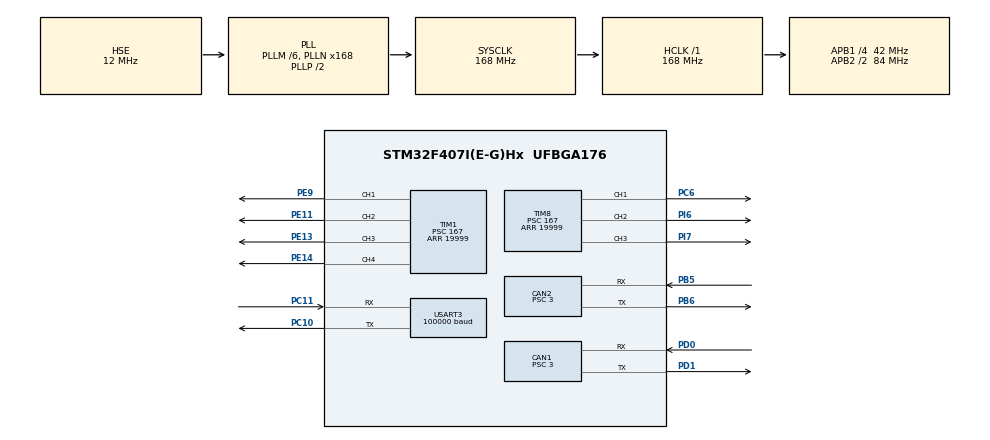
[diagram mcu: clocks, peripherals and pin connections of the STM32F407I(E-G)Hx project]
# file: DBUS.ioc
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CAN1.BS1=CAN_BS1_10TQ
CAN1.BS2=CAN_BS2_3TQ
CAN1.CalculateTimeQuantum=71.42857142857143
CAN1.Prescaler=3
CAN2.BS1=CAN_BS1_10TQ
CAN2.BS2=CAN_BS2_3TQ
CAN2.CalculateTimeQuantum=71.42857142857143
CAN2.Prescaler=3
Dma.Request0=USART3_RX
Dma.USART3_RX.0.Direction=DMA_PERIPH_TO_MEMORY
Dma.USART3_RX.0.FIFOMode=DMA_FIFOMODE_DISABLE
Dma.USART3_RX.0.Instance=DMA1_Stream1
Dma.USART3_RX.0.MemDataAlignment=DMA_MDATAALIGN_BYTE
Dma.USART3_RX.0.MemInc=DMA_MINC_ENABLE
Dma.USART3_RX.0.Mode=DMA_CIRCULAR
Dma.USART3_RX.0.PeriphDataAlignment=DMA_PDATAALIGN_BYTE
Dma.USART3_RX.0.PeriphInc=DMA_PINC_DISABLE
Dma.USART3_RX.0.Priority=DMA_PRIORITY_VERY_HIGH
Mcu.Family=STM32F4
Mcu.Name=STM32F407I(E-G)Hx
Mcu.Package=UFBGA176
NVIC.CAN1_RX0_IRQn=true\:0\:0\:false\:false\:true\:true\:true
NVIC.CAN2_RX0_IRQn=true\:0\:0\:false\:false\:true\:true\:true
NVIC.DMA1_Stream1_IRQn=true\:0\:0\:false\:false\:true\:false\:true
NVIC.PriorityGroup=NVIC_PRIORITYGROUP_4
PA13.Mode=Serial_Wire
PA13.Signal=SYS_JTMS-SWDIO
PA14.Mode=Serial_Wire
PA14.Signal=SYS_JTCK-SWCLK
PB5.Mode=Slave
PB5.Signal=CAN2_RX
PB6.Mode=Slave
PB6.Signal=CAN2_TX
PC10.Mode=Asynchronous
PC10.Signal=USART3_TX
PC11.Mode=Asynchronous
PC11.Signal=USART3_RX
PC6.GPIO_PuPd=GPIO_PULLUP
PC6.GPIO_Speed=GPIO_SPEED_FREQ_HIGH
PC6.Signal=S_TIM8_CH1
PD0.Mode=Master
PD0.Signal=CAN1_RX
PD1.Mode=Master
PD1.Signal=CAN1_TX
PE11.GPIO_PuPd=GPIO_PULLUP
PE11.GPIO_Speed=GPIO_SPEED_FREQ_HIGH
PE11.Signal=S_TIM1_CH2
PE13.GPIO_PuPd=GPIO_PULLUP
PE13.GPIO_Speed=GPIO_SPEED_FREQ_HIGH
PE13.Signal=S_TIM1_CH3
PE14.GPIO_PuPd=GPIO_PULLUP
PE14.GPIO_Speed=GPIO_SPEED_FREQ_HIGH
PE14.Signal=S_TIM1_CH4
PE9.GPIO_PuPd=GPIO_PULLUP
PE9.GPIO_Speed=GPIO_SPEED_FREQ_HIGH
PE9.Signal=S_TIM1_CH1
PH0-OSC_IN.Mode=HSE-External-Oscillator
PH0-OSC_IN.Signal=RCC_OSC_IN
PH1-OSC_OUT.Mode=HSE-External-Oscillator
PH1-OSC_OUT.Signal=RCC_OSC_OUT
PI6.GPIO_PuPd=GPIO_PULLUP
PI6.GPIO_Speed=GPIO_SPEED_FREQ_HIGH
PI6.Signal=S_TIM8_CH2
PI7.GPIO_PuPd=GPIO_PULLUP
PI7.GPIO_Speed=GPIO_SPEED_FREQ_HIGH
PI7.Signal=S_TIM8_CH3
ProjectManager.HeapSize=0x2000
ProjectManager.StackSize=0x2000
ProjectManager.TargetToolchain=MDK-ARM V5
RCC.48MHZClocksFreq_Value=48000000
RCC.AHBFreq_Value=168000000
RCC.APB1CLKDivider=RCC_HCLK_DIV4
RCC.APB1Freq_Value=42000000
RCC.APB1TimFreq_Value=84000000
RCC.APB2CLKDivider=RCC_HCLK_DIV2
RCC.APB2Freq_Value=84000000
RCC.APB2TimFreq_Value=168000000
RCC.CortexFreq_Value=168000000
RCC.HCLKFreq_Value=168000000
RCC.HSE_VALUE=12000000
RCC.HSI_VALUE=16000000
RCC.LSE_VALUE=32768
RCC.PLLM=6
RCC.PLLN=168
RCC.PLLQ=7
RCC.PLLSourceVirtual=RCC_PLLSOURCE_HSE
RCC.RCC_RTC_Clock_SourceVirtual=RCC_RTCCLKSOURCE_HSE_DIV30
RCC.RCC_RTC_Clock_Source_FROM_HSE=RCC_RTCCLKSOURCE_HSE_DIV30
RCC.SYSCLKFreq_VALUE=168000000
RCC.SYSCLKSource=RCC_SYSCLKSOURCE_PLLCLK
RCC.VCOOutputFreq_Value=336000000
SH.S_TIM1_CH1.0=TIM1_CH1,PWM Generation1 CH1
SH.S_TIM1_CH2.0=TIM1_CH2,PWM Generation2 CH2
SH.S_TIM1_CH3.0=TIM1_CH3,PWM Generation3 CH3
SH.S_TIM1_CH4.0=TIM1_CH4,PWM Generation4 CH4
SH.S_TIM8_CH1.0=TIM8_CH1,PWM Generation1 CH1
SH.S_TIM8_CH2.0=TIM8_CH2,PWM Generation2 CH2
SH.S_TIM8_CH3.0=TIM8_CH3,PWM Generation3 CH3
TIM1.Channel-PWM\ Generation1\ CH1=TIM_CHANNEL_1
TIM1.Channel-PWM\ Generation2\ CH2=TIM_CHANNEL_2
TIM1.Channel-PWM\ Generation3\ CH3=TIM_CHANNEL_3
TIM1.Channel-PWM\ Generation4\ CH4=TIM_CHANNEL_4
TIM1.Period=19999
TIM1.Prescaler=167
TIM1.Pulse-PWM\ Generation1\ CH1=2000
TIM1.Pulse-PWM\ Generation2\ CH2=2000
TIM1.Pulse-PWM\ Generation3\ CH3=2000
TIM1.Pulse-PWM\ Generation4\ CH4=2000
TIM8.Channel-PWM\ Generation1\ CH1=TIM_CHANNEL_1
TIM8.Channel-PWM\ Generation2\ CH2=TIM_CHANNEL_2
TIM8.Channel-PWM\ Generation3\ CH3=TIM_CHANNEL_3
TIM8.Period=19999
TIM8.Prescaler=167
TIM8.Pulse-PWM\ Generation1\ CH1=2000
TIM8.Pulse-PWM\ Generation2\ CH2=2000
TIM8.Pulse-PWM\ Generation3\ CH3=2000
USART3.BaudRate=100000
USART3.Parity=PARITY_EVEN
USART3.VirtualMode=VM_ASYNC
USART3.WordLength=WORDLENGTH_9B
VP_TIM1_VS_ClockSourceINT.Mode=Internal
VP_TIM8_VS_ClockSourceINT.Mode=Internal
board=custom

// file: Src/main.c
/* USER CODE BEGIN Header */
/**
  ******************************************************************************
  * @file           : main.c
  * @brief          : Main program body
  ******************************************************************************
  * @attention
  *
  * <h2><center>&copy; Copyright (c) 2021 STMicroelectronics.
  * All rights reserved.</center></h2>
  *
  * This software component is licensed by ST under BSD 3-Clause license,
  * the "License"; You may not use this file except in compliance with the
  * License. You may obtain a copy of the License at:
  *                        opensource.org/licenses/BSD-3-Clause
  *
  ******************************************************************************
  */
/* USER CODE END Header */

#include "main.h"
#include "can.h"
#include "dma.h"
#include "tim.h"
#include "usart.h"
#include "gpio.h"

/* USER CODE BEGIN Includes */
#include "bsp_can.h"
#include "CAN_receive.h"
#include "muc_remote.h"
/* USER CODE END Includes */

/* USER CODE BEGIN PV */

uint8_t sbus_rx_buffer[18];
unsigned short pwm = 1000;
int set_current = 0;
RC_Ctl_t RC_Ctl;
/* USER CODE END PV */

void SystemClock_Config(void);
void PWM_init(void);

int main(void)
{

  /* MCU Configuration--------------------------------------------------------*/

  /* Reset of all peripherals, Initializes the Flash interface and the Systick. */
  HAL_Init();

  /* Configure the system clock */
  SystemClock_Config();

  /* Initialize all configured peripherals */
  MX_GPIO_Init();
  MX_DMA_Init();
  MX_TIM8_Init();
  MX_TIM1_Init();
  MX_USART3_UART_Init();
  MX_CAN1_Init();
  MX_CAN2_Init();
  /* USER CODE BEGIN 2 */
  PWM_init();
HAL_UART_Receive_DMA(&huart3,sbus_rx_buffer,18);
void MucRemoteInit();
  /* USER CODE END 2 */

  /* Infinite loop */
  while (1)
  {
	  //遥控器处理数据
	  RemoteTaskLoop(RC_Ctl);

	  set_current = (RC_Ctl.rc.ch0 - 1024) *10;

		//简单的遥控器摩擦轮测试程序
	  if(CC_Condition.S2Sta == 1 && CC_Condition.S1Action == SwitchAction_3TO1)
	  {
		__HAL_TIM_SetCompare(&htim1, TIM_CHANNEL_1, 1500);
	  __HAL_TIM_SetCompare(&htim1, TIM_CHANNEL_2, 1500);
		  __HAL_TIM_SetCompare(&htim1, TIM_CHANNEL_3, 1500);
	  }
	  else if(CC_Condition.S2Sta == 1 && CC_Condition.S1Action == SwitchAction_1TO3)
	  {
		  __HAL_TIM_SetCompare(&htim1, TIM_CHANNEL_1, 1000);
		   __HAL_TIM_SetCompare(&htim1, TIM_CHANNEL_2, 1000);
		  __HAL_TIM_SetCompare(&htim1, TIM_CHANNEL_3, 1000);
	  }

	//CAN_cmd_chassis(set_current,set_current,set_current,set_current);

  }
}

void SystemClock_Config(void)
{
  RCC_OscInitTypeDef RCC_OscInitStruct = {0};
  RCC_ClkInitTypeDef RCC_ClkInitStruct = {0};

  /** Configure the main internal regulator output voltage
  */
  __HAL_RCC_PWR_CLK_ENABLE();
  __HAL_PWR_VOLTAGESCALING_CONFIG(PWR_REGULATOR_VOLTAGE_SCALE1);
  /** Initializes the CPU, AHB and APB busses clocks
  */
  RCC_OscInitStruct.OscillatorType = RCC_OSCILLATORTYPE_HSE;
  RCC_OscInitStruct.HSEState = RCC_HSE_ON;
  RCC_OscInitStruct.PLL.PLLState = RCC_PLL_ON;
  RCC_OscInitStruct.PLL.PLLSource = RCC_PLLSOURCE_HSE;
  RCC_OscInitStruct.PLL.PLLM = 6;
  RCC_OscInitStruct.PLL.PLLN = 168;
  RCC_OscInitStruct.PLL.PLLP = RCC_PLLP_DIV2;
  RCC_OscInitStruct.PLL.PLLQ = 7;
  if (HAL_RCC_OscConfig(&RCC_OscInitStruct) != HAL_OK)
  {
    Error_Handler();
  }
  /** Initializes the CPU, AHB and APB busses clocks
  */
  RCC_ClkInitStruct.ClockType = RCC_CLOCKTYPE_HCLK|RCC_CLOCKTYPE_SYSCLK
                              |RCC_CLOCKTYPE_PCLK1|RCC_CLOCKTYPE_PCLK2;
  RCC_ClkInitStruct.SYSCLKSource = RCC_SYSCLKSOURCE_PLLCLK;
  RCC_ClkInitStruct.AHBCLKDivider = RCC_SYSCLK_DIV1;
  RCC_ClkInitStruct.APB1CLKDivider = RCC_HCLK_DIV4;
  RCC_ClkInitStruct.APB2CLKDivider = RCC_HCLK_DIV2;

  if (HAL_RCC_ClockConfig(&RCC_ClkInitStruct, FLASH_LATENCY_5) != HAL_OK)
  {
    Error_Handler();
  }
}

/* USER CODE BEGIN 4 */
void HAL_UART_RxCpltCallback(UART_HandleTypeDef *UartHandle)
{
				RC_Ctl.rc.ch0 = (sbus_rx_buffer[0]| (sbus_rx_buffer[1] << 8)) & 0x07ff;
				RC_Ctl.rc.ch1 = ((sbus_rx_buffer[1] >> 3) | (sbus_rx_buffer[2] << 5)) & 0x07ff;
				RC_Ctl.rc.ch2 = ((sbus_rx_buffer[2] >> 6) | (sbus_rx_buffer[3] << 2) | (sbus_rx_buffer[4] << 10)) & 0x07ff;
				RC_Ctl.rc.ch3 = ((sbus_rx_buffer[4] >> 1) | (sbus_rx_buffer[5] << 7)) & 0x07ff;
				RC_Ctl.rc.s1  = ((sbus_rx_buffer[5] >> 4)& 0x000C) >> 2;
				RC_Ctl.rc.s2  = ((sbus_rx_buffer[5] >> 4)& 0x0003);

				RC_Ctl.mouse.x = sbus_rx_buffer[6] | (sbus_rx_buffer[7] << 8);                    //!< Mouse X axis
				RC_Ctl.mouse.y = sbus_rx_buffer[8] | (sbus_rx_buffer[9] << 8);                    //!< Mouse Y axis
				RC_Ctl.mouse.z = sbus_rx_buffer[10] | (sbus_rx_buffer[11] << 8);                  //!< Mouse Z axis
				RC_Ctl.mouse.press_l = sbus_rx_buffer[12];                                        //!< Mouse Left Is Press
				RC_Ctl.mouse.press_r = sbus_rx_buffer[13];                                        //!< Mouse Right Is Press
				RC_Ctl.key.v = sbus_rx_buffer[14] | (sbus_rx_buffer[15] << 8);   			//!< KeyBoard value
}

void PWM_init(void)
{
	HAL_TIM_Base_Start(&htim1);
	HAL_TIM_PWM_Start(&htim1,TIM_CHANNEL_1);
	HAL_TIM_PWM_Start(&htim1,TIM_CHANNEL_2);
	HAL_TIM_PWM_Start(&htim1,TIM_CHANNEL_3);
	HAL_TIM_PWM_Start(&htim1,TIM_CHANNEL_4);
	HAL_TIM_Base_Start(&htim8);
	HAL_TIM_PWM_Start(&htim8,TIM_CHANNEL_1);
	HAL_TIM_PWM_Start(&htim8,TIM_CHANNEL_2);
	HAL_TIM_PWM_Start(&htim8,TIM_CHANNEL_3);
	__HAL_TIM_SetCompare(&htim1, TIM_CHANNEL_1, 1000);
	__HAL_TIM_SetCompare(&htim1, TIM_CHANNEL_2, 1000);
	__HAL_TIM_SetCompare(&htim1, TIM_CHANNEL_3, 1000);
	__HAL_TIM_SetCompare(&htim1, TIM_CHANNEL_4, 1000);
	__HAL_TIM_SetCompare(&htim8, TIM_CHANNEL_1, 1000);
	__HAL_TIM_SetCompare(&htim8, TIM_CHANNEL_2, 1000);
	__HAL_TIM_SetCompare(&htim8, TIM_CHANNEL_3, 1000);
	HAL_Delay(3000);

  can_filter_init();
}
/* USER CODE END 4 */

void Error_Handler(void)
{
}

/************************ (C) COPYRIGHT STMicroelectronics *****END OF FILE****/
